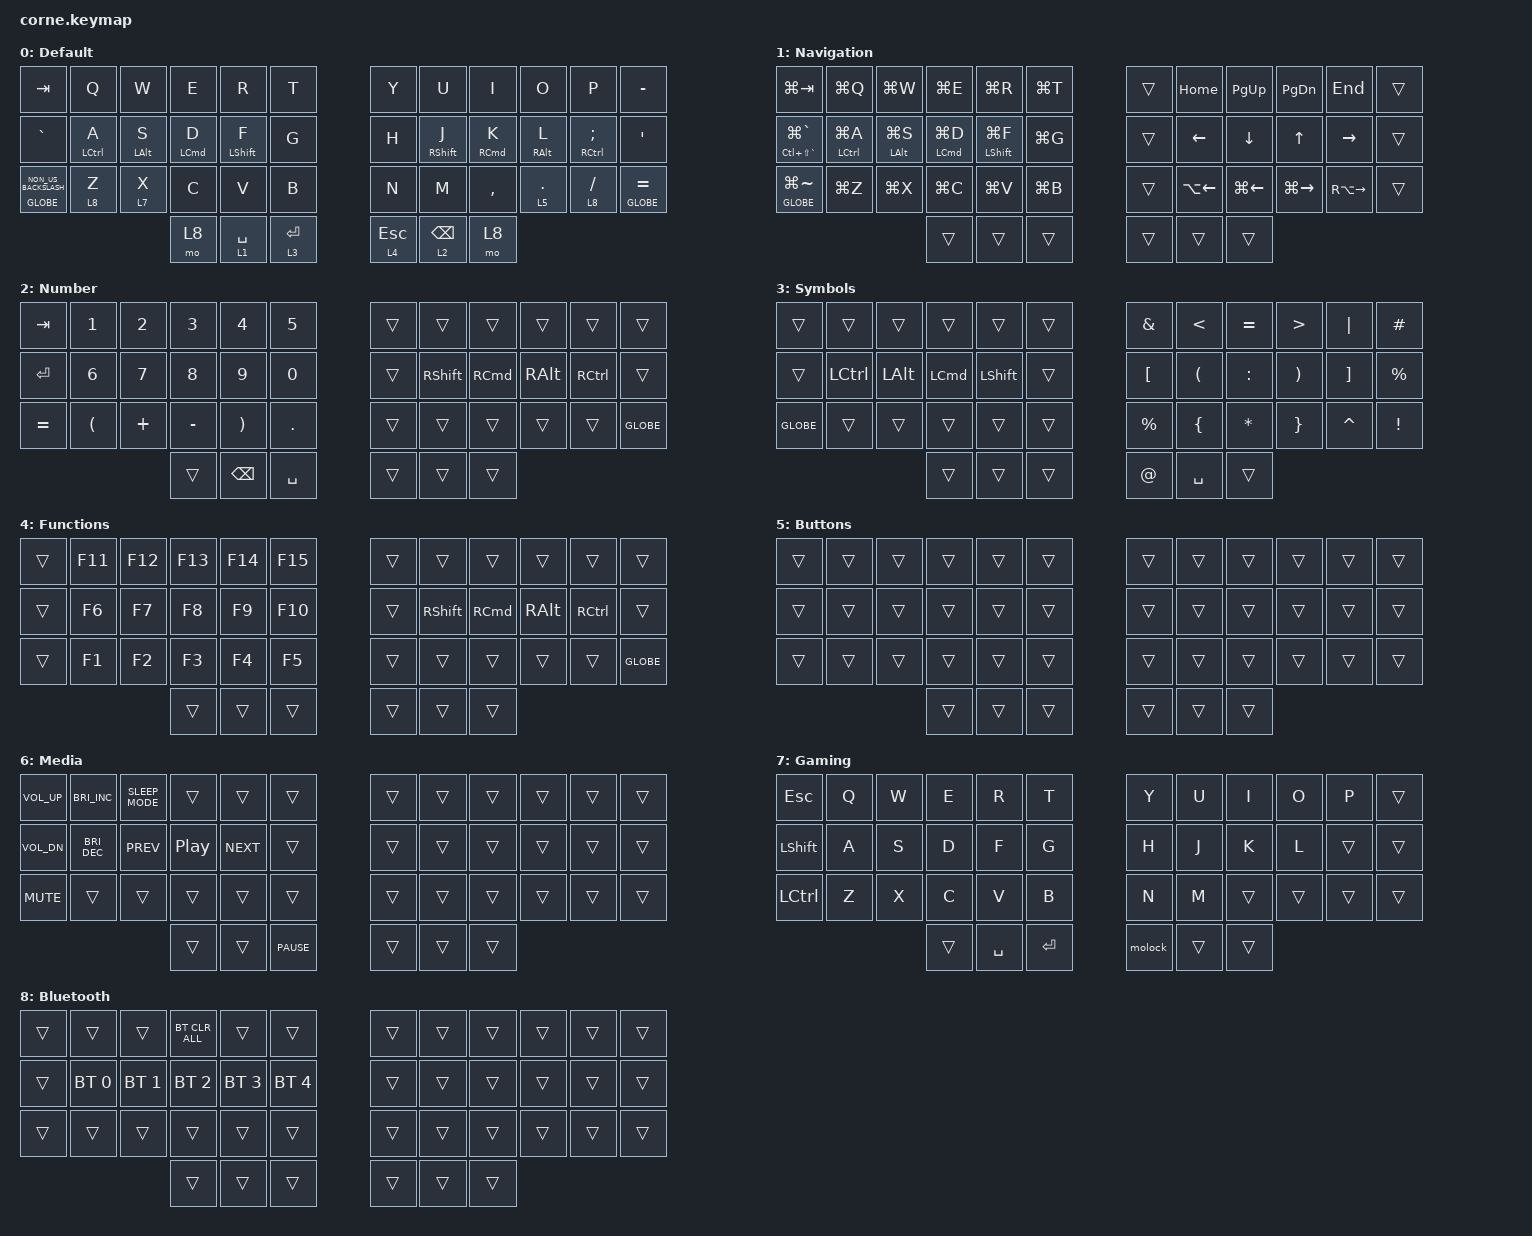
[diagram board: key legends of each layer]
/*
 * Copyright (c) 2020 The ZMK Contributors
 *
 * SPDX-License-Identifier: MIT
 */

#include <behaviors.dtsi>
#include <dt-bindings/zmk/bt.h>
#include <dt-bindings/zmk/keys.h>

/ {
    keymap {
        compatible = "zmk,keymap";

        base {
            display-name = "Default";

            // -----------------------------------------------------------------------------------------
            // |  TAB |  Q  |  W  |  E  |  R  |  T  |   |  Y  |  U   |  I  |  O  |  P  | BSPC |
            // | CTRL |  A  |  S  |  D  |  F  |  G  |   |  H  |  J   |  K  |  L  |  ;  |  '   |
            // | SHFT |  Z  |  X  |  C  |  V  |  B  |   |  N  |  M   |  ,  |  .  |  /  | ESC  |
            //                    | GUI | LWR | SPC |   | ENT | RSE  | ALT |

            bindings = <
&kp TAB                     &kp Q               &kp W           &kp E               &kp R             &kp T          &kp Y      &kp U              &kp I                &kp O            &kp P                   &kp MINUS
&kp GRAVE                   &mt LEFT_CONTROL A  &mt LEFT_ALT S  &mt LEFT_COMMAND D  &mt LEFT_SHIFT F  &kp G          &kp H      &mt RIGHT_SHIFT J  &mt RIGHT_COMMAND K  &mt RIGHT_ALT L  &mt RIGHT_CONTROL SEMI  &kp SINGLE_QUOTE
&mt GLOBE NON_US_BACKSLASH  &lt 8 Z             &lt 7 X         &kp C               &kp V             &kp B          &kp N      &kp M              &kp COMMA            &lt 5 PERIOD     &lt 8 SLASH             &mt GLOBE EQUAL
                                                                &mo 8               &lt 1 SPACE       &lt 3 ENTER    &lt 4 ESC  &lt 2 BACKSPACE    &mo 8
            >;
        };

        navigation {
            display-name = "Navigation";

            // -----------------------------------------------------------------------------------------
            // |  TAB |  1  |  2  |  3  |  4  |  5  |   |  6  |  7  |  8  |  9  |  0  | BSPC |
            // | BTCLR| BT1 | BT2 | BT3 | BT4 | BT5 |   | LFT | DWN |  UP | RGT |     |      |
            // | SHFT |     |     |     |     |     |   |     |     |     |     |     |      |
            //                    | GUI |     | SPC |   | ENT |     | ALT |

            bindings = <
&kp LG(TAB)                  &kp LG(Q)               &kp LG(W)           &kp LG(E)               &kp LG(R)             &kp LG(T)    &trans  &kp HOME            &kp PAGE_UP   &kp PAGE_DOWN  &kp END        &trans
&mt LC(LS(GRAVE)) LG(GRAVE)  &mt LEFT_CONTROL LG(A)  &mt LEFT_ALT LG(S)  &mt LEFT_COMMAND LG(D)  &mt LEFT_SHIFT LG(F)  &kp LG(G)    &trans  &kp LEFT            &kp DOWN      &kp UP_ARROW   &kp RIGHT      &trans
&mt GLOBE LG(TILDE)          &kp LG(Z)               &kp LG(X)           &kp LG(C)               &kp LG(V)             &kp LG(B)    &trans  &kp LA(LEFT_ARROW)  &kp LG(LEFT)  &kp LG(RIGHT)  &kp RA(RIGHT)  &trans
                                                                         &trans                  &trans                &trans       &trans  &trans              &trans
            >;
        };

        number {
            display-name = "Number";

            // -----------------------------------------------------------------------------------------
            // |  TAB |  !  |  @  |  #  |  $  |  %  |   |  ^  |  &  |  *  |  (  |  )  | BSPC |
            // | CTRL |     |     |     |     |     |   |  -  |  =  |  [  |  ]  |  \  |  `   |
            // | SHFT |     |     |     |     |     |   |  _  |  +  |  {  |  }  | "|" |  ~   |
            //                    | GUI |     | SPC |   | ENT |     | ALT |

            bindings = <
&kp TAB    &kp NUMBER_1          &kp NUMBER_2  &kp NUMBER_3  &kp NUMBER_4           &kp NUMBER_5    &trans  &trans           &trans             &trans         &trans             &trans
&kp ENTER  &kp NUMBER_6          &kp NUMBER_7  &kp NUMBER_8  &kp NUMBER_9           &kp NUMBER_0    &trans  &kp RIGHT_SHIFT  &kp RIGHT_COMMAND  &kp RIGHT_ALT  &kp RIGHT_CONTROL  &trans
&kp EQUAL  &kp LEFT_PARENTHESIS  &kp PLUS      &kp MINUS     &kp RIGHT_PARENTHESIS  &kp DOT         &trans  &trans           &trans             &trans         &trans             &kp GLOBE
                                               &trans        &kp BACKSPACE          &kp SPACE       &trans  &trans           &trans
            >;
        };

        symbols {
            bindings = <
&trans     &trans            &trans        &trans            &trans          &trans    &kp AMPERSAND     &kp LESS_THAN         &kp EQUAL     &kp GREATER_THAN       &kp PIPE           &kp HASH
&trans     &kp LEFT_CONTROL  &kp LEFT_ALT  &kp LEFT_COMMAND  &kp LEFT_SHIFT  &trans    &kp LEFT_BRACKET  &kp LEFT_PARENTHESIS  &kp COLON     &kp RIGHT_PARENTHESIS  &kp RIGHT_BRACKET  &kp PERCENT
&kp GLOBE  &trans            &trans        &trans            &trans          &trans    &kp PERCENT       &kp LEFT_BRACE        &kp ASTERISK  &kp RIGHT_BRACE        &kp CARET          &kp EXCLAMATION
                                           &trans            &trans          &trans    &kp AT_SIGN       &kp SPACE             &trans
            >;

            label = "Symbols";
        };

        funtions {
            bindings = <
&trans  &kp F11  &kp F12  &kp F13  &kp F14  &kp F15    &trans  &trans           &trans             &trans         &trans             &trans
&trans  &kp F6   &kp F7   &kp F8   &kp F9   &kp F10    &trans  &kp RIGHT_SHIFT  &kp RIGHT_COMMAND  &kp RIGHT_ALT  &kp RIGHT_CONTROL  &trans
&trans  &kp F1   &kp F2   &kp F3   &kp F4   &kp F5     &trans  &trans           &trans             &trans         &trans             &kp GLOBE
                          &trans   &trans   &trans     &trans  &trans           &trans
            >;

            label = "Functions";
        };

        buttons {
            bindings = <
&trans  &trans  &trans  &trans  &trans  &trans    &trans  &trans  &trans  &trans  &trans  &trans
&trans  &trans  &trans  &trans  &trans  &trans    &trans  &trans  &trans  &trans  &trans  &trans
&trans  &trans  &trans  &trans  &trans  &trans    &trans  &trans  &trans  &trans  &trans  &trans
                        &trans  &trans  &trans    &trans  &trans  &trans
            >;

            label = "Buttons";
        };

        media {
            bindings = <
&kp C_VOLUME_UP  &kp C_BRIGHTNESS_INC  &kp C_SLEEP_MODE  &trans            &trans      &trans         &trans  &trans  &trans  &trans  &trans  &trans
&kp C_VOL_DN     &kp C_BRIGHTNESS_DEC  &kp C_PREV        &kp C_PLAY_PAUSE  &kp C_NEXT  &trans         &trans  &trans  &trans  &trans  &trans  &trans
&kp K_MUTE       &trans                &trans            &trans            &trans      &trans         &trans  &trans  &trans  &trans  &trans  &trans
                                                         &trans            &trans      &kp C_PAUSE    &trans  &trans  &trans
            >;

            label = "Media";
        };

        gaming {
            bindings = <
&kp ESC    &kp Q  &kp W  &kp E   &kp R      &kp T      &kp Y    &kp U  &kp I   &kp O   &kp P   &trans
&kp LSHFT  &kp A  &kp S  &kp D   &kp F      &kp G      &kp H    &kp J  &kp K   &kp L   &trans  &trans
&kp LCTRL  &kp Z  &kp X  &kp C   &kp V      &kp B      &kp N    &kp M  &trans  &trans  &trans  &trans
                         &trans  &kp SPACE  &kp RET    &molock  &trans  &trans
            >;

            label = "Gaming";
        };

        bluetooth {
            bindings = <
&trans  &trans        &trans        &bt BT_CLR_ALL  &trans        &trans          &trans  &trans  &trans  &trans  &trans  &trans
&trans  &bt BT_SEL 0  &bt BT_SEL 1  &bt BT_SEL 2    &bt BT_SEL 3  &bt BT_SEL 4    &trans  &trans  &trans  &trans  &trans  &trans
&trans  &trans        &trans        &trans          &trans        &trans          &trans  &trans  &trans  &trans  &trans  &trans
                                    &trans          &trans        &trans          &trans  &trans  &trans
            >;

            label = "Bluetooth";
        };
    };
};
